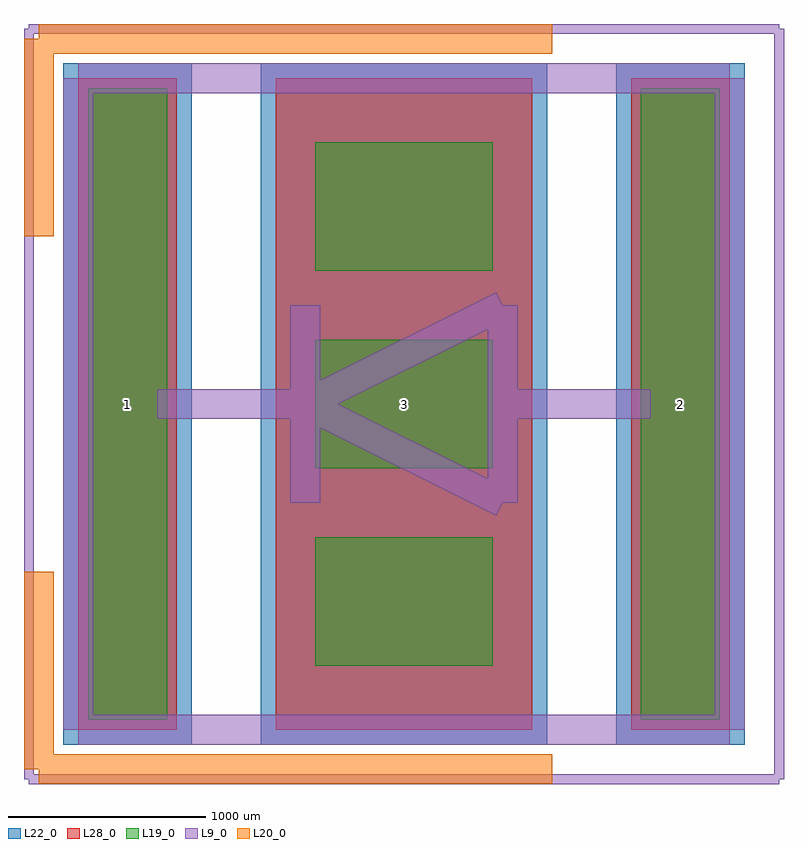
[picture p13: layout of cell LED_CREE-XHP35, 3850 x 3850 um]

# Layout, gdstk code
import gdstk
lib = gdstk.Library(unit=1e-6, precision=1e-09)
def R(c, l, rs):  # rectangles x0, y0, x1, y1
    for r in rs: c.add(gdstk.rectangle(r[:2], r[2:], *l))
def A(c, l, x, y, w, h, nx, ny, dx, dy):  # array of equal rectangles
    R(c, l, [(x+i*dx, y+j*dy, x+i*dx+w, y+j*dy+h) for i in range(nx) for j in range(ny)])
L9_0 = (9, 0)
L19_0 = (19, 0)
L20_0 = (20, 0)
L22_0 = (22, 0)
L28_0 = (28, 0)

led_cree_xhp35 = lib.new_cell('LED_CREE-XHP35')
A(led_cree_xhp35, L19_0, -450, -1325, 900, 650, 1, 3, 0, 1000)
R(led_cree_xhp35, L19_0, [(-1600,-1600,-1200,1600), (1200,-1600,1600,1600)])
A(led_cree_xhp35, L22_0, -575, -1450, 1150, 900, 1, 3, 0, 1000)
R(led_cree_xhp35, L22_0, [(-1725,-1725,-1075,1725), (-725,-1725,725,1725), (1075,-1725,1725,1725)])
A(led_cree_xhp35, L28_0, -500, -1375, 1000, 750, 1, 3, 0, 1000)
R(led_cree_xhp35, L28_0, [(-1650,-1650,-1150,1650), (-650,-1650,650,1650), (1150,-1650,1650,1650)])
led_cree_xhp35.add(gdstk.FlexPath([(-1650,1650),(1650,1650)], 149.998, ends="flush", simple_path=True, layer=9, datatype=0))  # L9_0
led_cree_xhp35.add(gdstk.FlexPath([(1650,1650),(1650,-1650)], 149.998, ends="flush", simple_path=True, layer=9, datatype=0))  # L9_0
led_cree_xhp35.add(gdstk.FlexPath([(1650,-1650),(-1650,-1650)], 149.998, ends="flush", simple_path=True, layer=9, datatype=0))  # L9_0
led_cree_xhp35.add(gdstk.FlexPath([(-1650,-1650),(-1650,1650)], 149.998, ends="flush", simple_path=True, layer=9, datatype=0))  # L9_0
led_cree_xhp35.add(gdstk.FlexPath([(750,1850),(-1850,1850)], 149.998, ends="flush", simple_path=True, layer=20, datatype=0))  # L20_0
led_cree_xhp35.add(gdstk.FlexPath([(-1850,1850),(-1850,850)], 149.998, ends="flush", simple_path=True, layer=20, datatype=0))  # L20_0
led_cree_xhp35.add(gdstk.FlexPath([(750,-1850),(-1850,-1850)], 149.998, ends="flush", simple_path=True, layer=20, datatype=0))  # L20_0
led_cree_xhp35.add(gdstk.FlexPath([(-1850,-1850),(-1850,-850)], 149.998, ends="flush", simple_path=True, layer=20, datatype=0))  # L20_0
led_cree_xhp35.add(gdstk.FlexPath([(-1900,-1900),(1900,-1900)], 50, ends="flush", simple_path=True, layer=9, datatype=0))  # L9_0
led_cree_xhp35.add(gdstk.FlexPath([(1900,-1900),(1900,1900)], 50, ends="flush", simple_path=True, layer=9, datatype=0))  # L9_0
led_cree_xhp35.add(gdstk.FlexPath([(1900,1900),(-1900,1900)], 50, ends="flush", simple_path=True, layer=9, datatype=0))  # L9_0
led_cree_xhp35.add(gdstk.FlexPath([(-1900,1900),(-1900,-1900)], 50, ends="flush", simple_path=True, layer=9, datatype=0))  # L9_0
led_cree_xhp35.add(gdstk.FlexPath([(1250,0),(500,0)], 149.998, ends="flush", simple_path=True, layer=9, datatype=0))  # L9_0
led_cree_xhp35.add(gdstk.FlexPath([(-1250,0),(-500,0)], 149.998, ends="flush", simple_path=True, layer=9, datatype=0))  # L9_0
led_cree_xhp35.add(gdstk.FlexPath([(-500,500),(-500,-500)], 149.998, ends="flush", simple_path=True, layer=9, datatype=0))  # L9_0
led_cree_xhp35.add(gdstk.FlexPath([(-500,0),(500,500)], 149.998, ends="flush", simple_path=True, layer=9, datatype=0))  # L9_0
led_cree_xhp35.add(gdstk.FlexPath([(500,500),(500,-500)], 149.998, ends="flush", simple_path=True, layer=9, datatype=0))  # L9_0
led_cree_xhp35.add(gdstk.FlexPath([(500,-500),(-500,0)], 149.998, ends="flush", simple_path=True, layer=9, datatype=0))  # L9_0
led_cree_xhp35.add(gdstk.Label('3', (0,0), layer=28, texttype=0))
led_cree_xhp35.add(gdstk.Label('1', (-1400,0), layer=28, texttype=0))
led_cree_xhp35.add(gdstk.Label('2', (1400,0), layer=28, texttype=0))
led_cree_xhp35.add(gdstk.Label('type', (0,2750), layer=9, texttype=0))
led_cree_xhp35.add(gdstk.Label('devicename', (0,-2750), layer=9, texttype=0))

lib.write_gds('LED_CREE-XHP35.gds')
